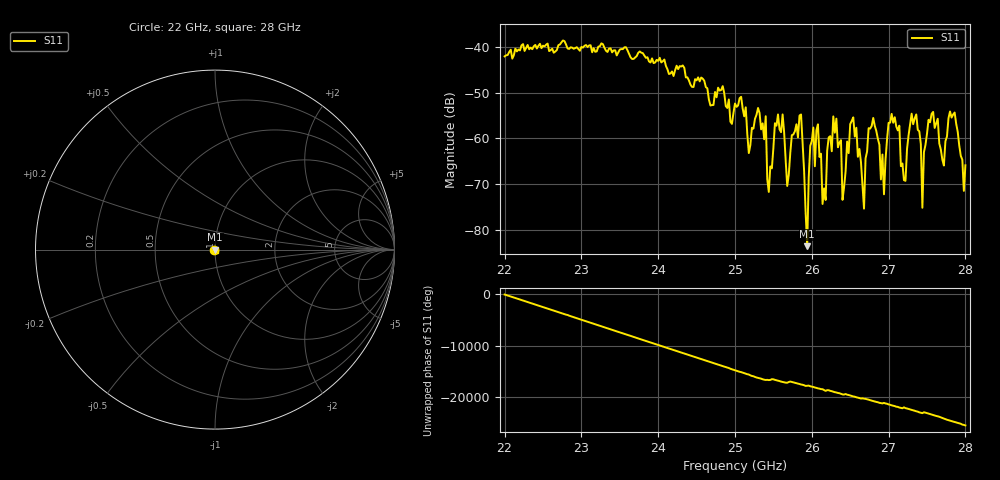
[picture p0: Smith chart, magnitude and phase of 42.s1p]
#  HZ  S  RI  R  50.00
! Rohde & Schwarz ZVA40 4Ports - Version 3.90 - 1145.1110k42 SN: 100403
! Date: 2023-10-04 06:20:16
! Measurement: S12
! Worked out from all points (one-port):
!   301 points, 22 GHz to 28 GHz, reference 50 ohm
!   lowest |S11| = -83.6 dB at 25.94 GHz (marker M1), VSWR 1.00, Z = 50 - j0.005 ohm
!   |S11| at or under -10 dB: start of sweep to end of sweep
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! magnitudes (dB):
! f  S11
! 22 GHz  -42.0
! 22.76 GHz  -38.5
! 23.5 GHz  -40.5
! 24.26 GHz  -44.8
! 25 GHz  -52.3
! 25.4 GHz  -55.1
! 25.44 GHz  -71.7
! 25.56 GHz  -54.7
! 25.68 GHz  -70.4
! 25.76 GHz  -59.1
! 25.86 GHz  -54.7
! 25.94 GHz  -83.6
! 26.02 GHz  -57.6
! 26.14 GHz  -74.4
! 26.28 GHz  -55.2
! 26.38 GHz  -60.4
! 26.4 GHz  -73.5
! 26.5 GHz  -56.9
! 26.68 GHz  -75.4
! 26.8 GHz  -55.5
! 26.94 GHz  -72.2
! 27.04 GHz  -54.6
! 27.2 GHz  -69.1
! 27.26 GHz  -59.3
! 27.36 GHz  -54.7
! 27.44 GHz  -75.2
! 27.58 GHz  -54.2
! 28 GHz  -65.9
